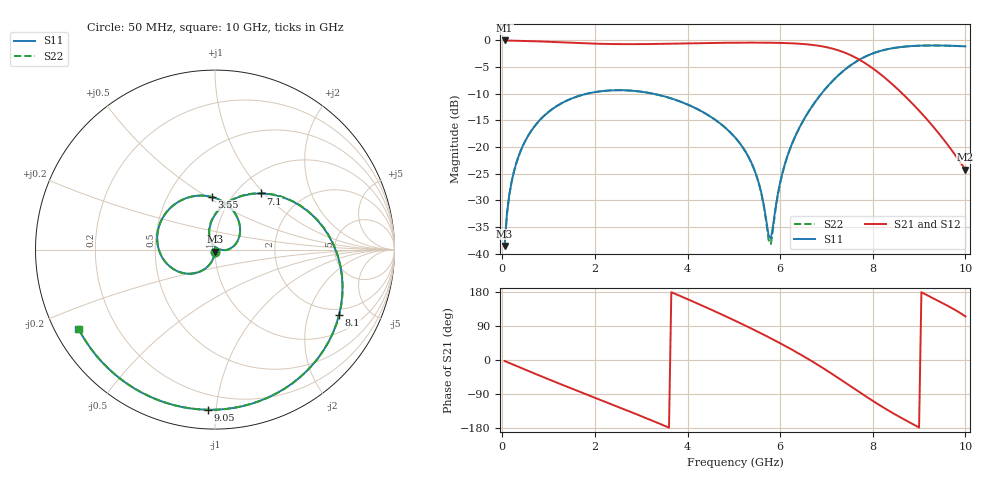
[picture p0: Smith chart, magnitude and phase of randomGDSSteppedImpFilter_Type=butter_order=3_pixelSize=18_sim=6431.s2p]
! freq	dB(S11)	phase(S11)	dB(S12)	phase(S12)
!  dB(S21)	phase(S21)	dB(S22)	phase(S22)
!S-par simulation data
#  GHz  S  DB  R 50
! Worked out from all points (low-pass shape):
!   200 points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, 50 MHz to 10 GHz, reference 50 ohm
!   highest |S21| = -0.01 dB at 50 MHz (marker M1); lowest = -24.2 dB at 10 GHz (marker M2)
!   |S21| within 3 dB of the highest: start of sweep to 7.579 GHz
!   lowest |S11| = -38.6 dB at 50 MHz (marker M3), VSWR 1.02, Z = 49.9 - j1.18 ohm
!   |S11| at or under -10 dB: start of sweep to 1.829 GHz; 3.257 GHz to 6.89 GHz (3.633 GHz wide, 71.6 % of centre)
!   |S22| runs from -38.6 to -1.0 dB; largest |S21 - S12| = 0
!   S11 on the Smith chart (normalised r, x): 50 MHz: 1.00, -0.02; 3.55 GHz: 0.81, +0.52; 7.1 GHz: 1.28, +0.96; 8.1 GHz: 1.71, -3.20; 9.05 GHz: 0.11, -0.95; 10 GHz: 0.07, -0.27
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0.05  -38.57 -92.4  -0.01 -2.7  -0.01 -2.7  -38.59 -92.4
0.1  -32.55 -95.1  -0.02 -5.2  -0.02 -5.2  -32.58 -95.2
0.2  -26.56 -100.5  -0.04 -10.4  -0.04 -10.4  -26.58 -100.5
0.5  -18.79 -116.2  -0.09 -25.7  -0.09 -25.7  -18.79 -116.2
1.15  -12.46 -149.1  -0.32 -58.4  -0.32 -58.4  -12.46 -149.0
1.75  -10.17 -178.3  -0.55 -87.6  -0.55 -87.6  -10.17 -178.3
2.55  -9.34 143.2  -0.70 -126.2  -0.70 -126.2  -9.34 143.2
3.4  -10.28 101.4  -0.65 -168.3  -0.65 -168.3  -10.28 101.3
3.55  -10.63 93.8  -0.63 -175.9  -0.63 -175.9  -10.63 93.7
4.25  -13.05 57.5  -0.52 147.2  -0.52 147.2  -13.05 57.4
5.05  -18.44 15.5  -0.43 102.4  -0.43 102.4  -18.44 15.0
5.5  -25.65 -2.8  -0.42 75.7  -0.42 75.7  -25.69 -4.3
5.8  -37.15 67.2  -0.44 57.1  -0.44 57.1  -38.19 68.7
6.1  -23.25 113.5  -0.50 37.7  -0.50 37.7  -23.30 115.1
6.7  -12.23 80.0  -0.85 -4.3  -0.85 -4.3  -12.23 80.6
7.1  -7.89 50.9  -1.48 -35.0  -1.48 -35.0  -7.90 51.3
7.55  -4.49 15.4  -2.89 -71.6  -2.89 -71.6  -4.49 15.7
8.1  -2.15 -27.7  -5.89 -115.5  -5.89 -115.5  -2.15 -27.5
8.35  -1.59 -46.1  -7.67 -134.1  -7.67 -134.1  -1.59 -45.9
9.05  -0.98 -92.7  -13.65 178.9  -13.65 178.9  -0.98 -92.5
9.5  -0.97 -120.0  -18.25 150.7  -18.25 150.7  -0.97 -119.9
10  -1.12 -149.9  -24.23 115.0  -24.23 115.0  -1.12 -149.8
